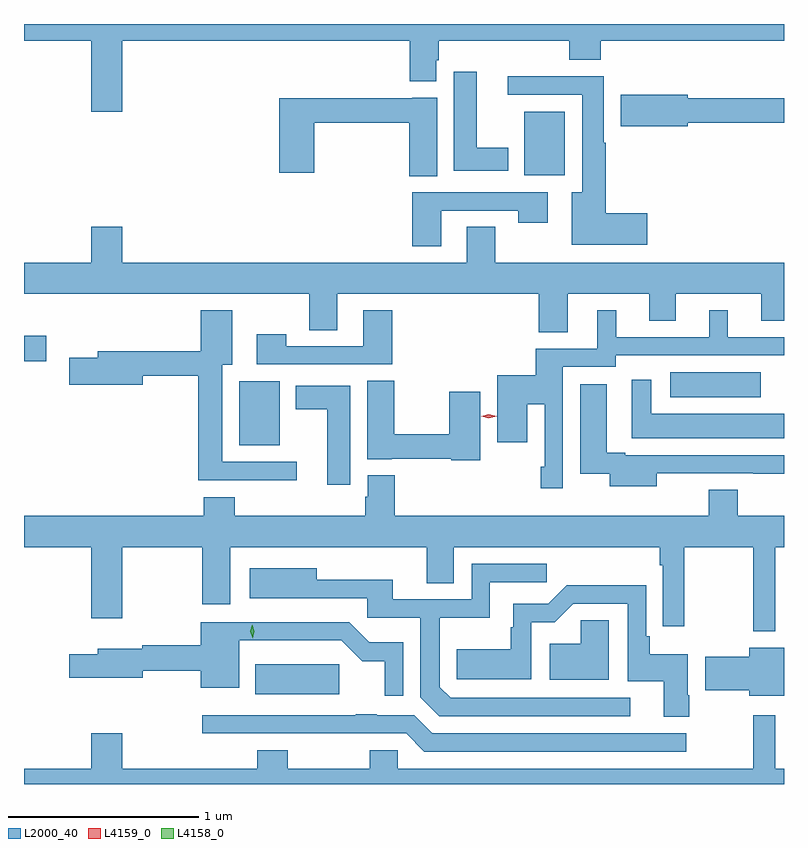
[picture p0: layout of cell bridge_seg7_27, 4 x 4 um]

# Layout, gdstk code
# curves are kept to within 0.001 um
import gdstk
lib = gdstk.Library(unit=1e-6, precision=1e-09)
def R(c, l, rs):  # rectangles x0, y0, x1, y1
    for r in rs: c.add(gdstk.rectangle(r[:2], r[2:], *l))
def P(c, l, *ps):  # polygons
    for p in ps: c.add(gdstk.Polygon(p, *l))
L2000_40 = (2000, 40)
L4158_0 = (4158, 0)
L4159_0 = (4159, 0)

bridge_seg7_27 = lib.new_cell('bridge_seg7_27')
R(bridge_seg7_27, L2000_40, [(1040.996,1051.79,1041.436,1051.948), (1040.912,1053.101,1041.124,1053.436), (1043.18,1053.353,1043.656,1053.484), (1039.778,1053.542,1039.894,1053.676), (1042.412,1054.52,1042.624,1054.855)])
P(bridge_seg7_27, L2000_40, [(1040.296,1055.228),(1041.809,1055.228),(1041.809,1055.015),(1041.949,1055.015),(1041.949,1055.127),(1041.962,1055.127),(1041.962,1055.228),(1042.649,1055.228),(1042.649,1055.129),(1042.814,1055.129),(1042.814,1055.228),(1043.778,1055.228),(1043.778,1055.317),(1039.778,1055.317),(1039.778,1055.228),(1040.132,1055.228),(1040.132,1054.854),(1040.296,1054.854)],
  [(1042.327,1054.666),(1042.162,1054.666),(1042.162,1055.065),(1042.04,1055.065),(1042.04,1054.544),(1042.327,1054.544)],
  [(1043.059,1054.32),(1042.841,1054.32),(1042.841,1054.691),(1042.828,1054.691),(1042.828,1055.042),(1042.323,1055.042),(1042.323,1054.944),(1042.715,1054.944),(1042.715,1054.432),(1042.661,1054.432),(1042.661,1054.154),(1043.059,1054.154)],
  [(1043.272,1054.798),(1043.778,1054.798),(1043.778,1054.927),(1043.272,1054.927),(1043.272,1054.945),(1042.92,1054.945),(1042.92,1054.78),(1043.272,1054.78)],
  [(1041.952,1054.93),(1041.822,1054.93),(1041.822,1054.927),(1041.122,1054.927),(1041.122,1054.533),(1041.305,1054.533),(1041.305,1054.798),(1041.805,1054.798),(1041.805,1054.516),(1041.952,1054.516)],
  [(1041.973,1054.335),(1042.378,1054.335),(1042.378,1054.272),(1042.534,1054.272),(1042.534,1054.431),(1041.821,1054.431),(1041.821,1054.146),(1041.973,1054.146)],
  [(1042.639,1053.896),(1043.069,1053.896),(1043.069,1053.754),(1043.209,1053.754),(1043.209,1053.896),(1043.657,1053.896),(1043.657,1053.754),(1043.778,1053.754),(1043.778,1054.06),(1042.257,1054.06),(1042.257,1054.25),(1042.109,1054.25),(1042.109,1054.06),(1040.296,1054.06),(1040.296,1054.249),(1040.132,1054.249),(1040.132,1054.06),(1039.778,1054.06),(1039.778,1053.896),(1041.28,1053.896),(1041.28,1053.706),(1041.427,1053.706),(1041.427,1053.896),(1042.487,1053.896),(1042.487,1053.694),(1042.639,1053.694)],
  [(1042.614,1053.513),(1042.893,1053.513),(1042.893,1053.573),(1043.778,1053.573),(1043.778,1053.669),(1043.482,1053.669),(1043.482,1053.811),(1043.384,1053.811),(1043.384,1053.669),(1042.894,1053.669),(1042.894,1053.811),(1042.796,1053.811),(1042.796,1053.609),(1042.472,1053.609),(1042.472,1053.469),(1042.268,1053.469),(1042.268,1053.117),(1042.426,1053.117),(1042.426,1053.317),(1042.518,1053.317),(1042.518,1052.986),(1042.498,1052.986),(1042.498,1052.874),(1042.614,1052.874)],
  [(1041.214,1053.012),(1040.821,1053.012),(1040.821,1053.524),(1040.875,1053.524),(1040.875,1053.811),(1040.708,1053.811),(1040.708,1053.595),(1040.165,1053.595),(1040.165,1053.561),(1040.016,1053.561),(1040.016,1053.419),(1040.404,1053.419),(1040.404,1053.466),(1040.696,1053.466),(1040.696,1052.915),(1041.214,1052.915)],
  [(1041.716,1053.811),(1041.563,1053.811),(1041.563,1053.621),(1041.159,1053.621),(1041.159,1053.685),(1041.003,1053.685),(1041.003,1053.525),(1041.716,1053.525)],
  [(1043.778,1053.265),(1043.08,1053.265),(1043.08,1053.445),(1042.976,1053.445),(1042.976,1053.137),(1043.778,1053.137)],
  [(1042.18,1053.382),(1042.015,1053.382),(1042.015,1053.158),(1041.726,1053.158),(1041.726,1053.44),(1041.584,1053.44),(1041.584,1053.026),(1041.714,1053.026),(1041.714,1053.03),(1042.026,1053.03),(1042.026,1053.022),(1042.18,1053.022)],
  [(1043.107,1052.952),(1043.617,1052.952),(1043.617,1052.95),(1043.778,1052.95),(1043.778,1053.048),(1042.942,1053.048),(1042.942,1053.061),(1042.846,1053.061),(1042.846,1053.421),(1042.706,1053.421),(1042.706,1052.95),(1042.862,1052.95),(1042.862,1052.885),(1043.107,1052.885)],
  [(1041.496,1053.412),(1041.209,1053.412),(1041.209,1053.29),(1041.374,1053.29),(1041.374,1052.892),(1041.496,1052.892)],
  [(1043.731,1052.564),(1043.778,1052.564),(1043.778,1052.728),(1043.534,1052.728),(1043.534,1052.867),(1043.381,1052.867),(1043.381,1052.728),(1041.728,1052.728),(1041.728,1052.941),(1041.587,1052.941),(1041.587,1052.829),(1041.575,1052.829),(1041.575,1052.728),(1040.888,1052.728),(1040.888,1052.827),(1040.723,1052.827),(1040.723,1052.728),(1039.778,1052.728),(1039.778,1052.564),(1040.132,1052.564),(1040.132,1052.19),(1040.296,1052.19),(1040.296,1052.564),(1040.716,1052.564),(1040.716,1052.262),(1040.863,1052.262),(1040.863,1052.564),(1041.899,1052.564),(1041.899,1052.374),(1042.039,1052.374),(1042.039,1052.564),(1043.124,1052.564),(1043.124,1052.468),(1043.141,1052.468),(1043.141,1052.148),(1043.252,1052.148),(1043.252,1052.564),(1043.617,1052.564),(1043.617,1052.12),(1043.731,1052.12)],
  [(1042.969,1051.77),(1042.023,1051.77),(1041.966,1051.827),(1041.966,1052.192),(1042.23,1052.192),(1042.23,1052.38),(1042.528,1052.38),(1042.528,1052.475),(1042.134,1052.475),(1042.134,1052.289),(1041.718,1052.289),(1041.718,1052.392),(1041.319,1052.392),(1041.319,1052.452),(1040.967,1052.452),(1040.967,1052.294),(1041.585,1052.295),(1041.585,1052.193),(1041.863,1052.193),(1041.863,1051.774),(1041.963,1051.674),(1042.969,1051.674)],
  [(1043.28,1051.783),(1043.272,1051.783),(1043.272,1051.999),(1043.072,1051.999),(1043.072,1052.095),(1043.052,1052.095),(1043.052,1052.363),(1042.634,1052.363),(1042.536,1052.265),(1042.353,1052.265),(1042.353,1052.142),(1042.341,1052.142),(1042.341,1052.026),(1042.056,1052.026),(1042.056,1051.868),(1042.449,1051.868),(1042.449,1052.169),(1042.572,1052.169),(1042.668,1052.265),(1042.956,1052.265),(1042.956,1051.859),(1043.144,1051.859),(1043.144,1051.671),(1043.28,1051.671)],
  [(1042.855,1052.179),(1042.708,1052.179),(1042.708,1052.056),(1042.544,1052.056),(1042.544,1051.865),(1042.855,1051.865)],
  [(1041.774,1052.064),(1041.594,1052.064),(1041.489,1052.169),(1040.708,1052.169),(1040.708,1052.048),(1040.4,1052.048),(1040.4,1052.029),(1040.165,1052.029),(1040.165,1051.999),(1040.016,1051.999),(1040.016,1051.877),(1040.404,1051.877),(1040.404,1051.912),(1040.708,1051.912),(1040.708,1051.823),(1040.911,1051.823),(1040.911,1052.073),(1041.447,1052.073),(1041.557,1051.963),(1041.676,1051.963),(1041.676,1051.782),(1041.774,1051.782)],
  [(1043.778,1052.035),(1043.594,1052.035),(1043.594,1051.988),(1043.364,1051.988),(1043.364,1051.81),(1043.594,1051.81),(1043.594,1051.781),(1043.778,1051.781)],
  [(1043.263,1051.584),(1041.927,1051.584),(1041.831,1051.68),(1041.634,1051.68),(1041.634,1051.685),(1041.523,1051.685),(1041.523,1051.68),(1040.715,1051.68),(1040.715,1051.584),(1041.789,1051.584),(1041.885,1051.488),(1043.263,1051.488)],
  [(1043.778,1051.396),(1043.731,1051.396),(1043.731,1051.678),(1043.617,1051.678),(1043.617,1051.396),(1041.744,1051.396),(1041.744,1051.494),(1041.598,1051.494),(1041.598,1051.396),(1041.165,1051.396),(1041.165,1051.495),(1041.005,1051.495),(1041.005,1051.396),(1040.296,1051.396),(1040.296,1051.585),(1040.132,1051.585),(1040.132,1051.396),(1039.778,1051.396),(1039.778,1051.317),(1043.778,1051.317)])
P(bridge_seg7_27, L4158_0, [(1040.982,1052.084),(1040.982,1052.084),(1040.97,1052.12),(1040.978,1052.156),(1040.979,1052.156),(1040.979,1052.156),(1040.99,1052.12),(1040.982,1052.084)])
P(bridge_seg7_27, L4159_0, [(1042.224,1053.243),(1042.184,1053.253),(1042.184,1053.253),(1042.184,1053.253),(1042.224,1053.263),(1042.265,1053.253),(1042.265,1053.253),(1042.265,1053.253)])

lib.write_gds('bridge_seg7_27.gds')
